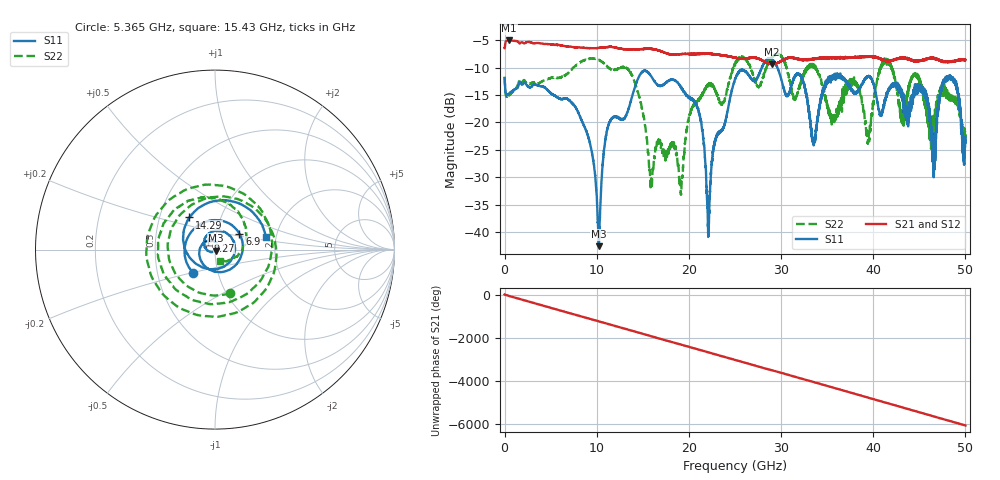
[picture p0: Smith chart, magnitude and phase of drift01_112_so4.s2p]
!Created with skrf (http://scikit-rf.org).
# Hz S RI R 50.0
!freq ReS11 ImS11 ReS21 ImS21 ReS12 ImS12 ReS22 ImS22
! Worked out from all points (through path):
!   10001 points, 300 kHz to 50 GHz, reference 50 ohm
!   highest |S21| = -5.05 dB at 490.3 MHz (marker M1); lowest = -9.4 dB at 28.98 GHz (marker M2)
!   group delay of S21, straight-line fit = 336 ps
!   lowest |S11| = -42.5 dB at 10.22 GHz (marker M3), VSWR 1.02, Z = 50.5 - j0.52 ohm
!   |S11| at or under -10 dB: start of sweep to 27.91 GHz; 29.6 GHz to end of sweep
!   |S22| runs from -33.1 to -7.5 dB; largest |S21 - S12| = 0.014
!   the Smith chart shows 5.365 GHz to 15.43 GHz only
!   S11 on the Smith chart (normalised r, x): 5.365 GHz: 0.76, -0.20; 6.9 GHz: 1.29, +0.23; 9.27 GHz: 0.92, +0.09; 14.29 GHz: 0.71, +0.27; 15.43 GHz: 1.77, +0.27
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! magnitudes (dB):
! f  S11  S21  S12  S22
! 300 kHz  -11.9  -6.5  -6.5  -11.7
! 490.3 MHz  -14.7  -5.1  -5.1  -15.1
! 5.365 GHz  -15.0  -5.8  -5.8  -11.8
! 6.9 GHz  -15.8  -6.1  -6.1  -11.0
! 8.335 GHz  -19.5  -6.4  -6.3  -8.9
! 9.27 GHz  -23.9  -6.4  -6.4  -8.4
! 10.22 GHz  -42.5  -6.4  -6.4  -8.6
! 11.23 GHz  -20.7  -6.3  -6.2  -9.9
! 14.29 GHz  -12.8  -6.7  -6.7  -13.5
! 15.43 GHz  -10.7  -6.6  -6.6  -22.9
! 16.67 GHz  -13.2  -6.9  -6.9  -23.4
! 19.14 GHz  -13.6  -7.5  -7.6  -33.1
! 20.86 GHz  -17.0  -7.5  -7.5  -16.2
! 22.12 GHz  -40.4  -7.5  -7.5  -13.4
! 25 GHz  -12.1  -8.2  -8.2  -9.5
! 28.98 GHz  -8.5  -9.4  -9.4  -8.2
! 33.34 GHz  -22.6  -8.5  -8.4  -9.5
! 39.47 GHz  -11.6  -8.0  -7.9  -22.1
! 41.67 GHz  -13.8  -8.7  -8.7  -8.9
! 46.56 GHz  -25.5  -8.3  -8.3  -19.8
! 48.52 GHz  -11.7  -8.9  -8.9  -15.4
! 50 GHz  -23.7  -8.6  -8.6  -23.1
